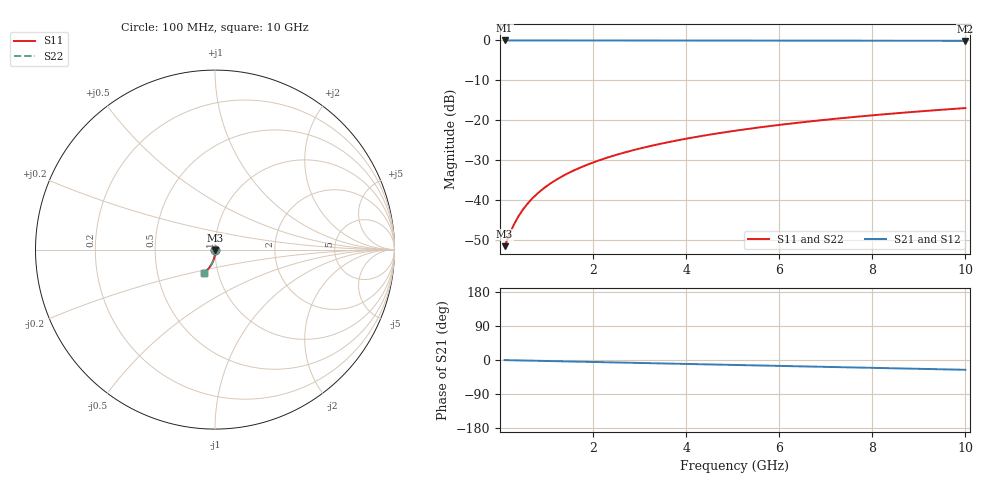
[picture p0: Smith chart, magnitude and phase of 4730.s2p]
# Hz S RI R 50.00
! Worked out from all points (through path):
!   100 points, 100 MHz to 10 GHz, reference 50 ohm
!   highest |S21| = -0.02 dB at 100 MHz (marker M1); lowest = -0.1 dB at 10 GHz (marker M2)
!   group delay of S21, straight-line fit = 7.18 ps
!   lowest |S11| = -51.5 dB at 100 MHz (marker M3), VSWR 1.01, Z = 50.2 - j0.149 ohm
!   |S11| at or under -10 dB: start of sweep to end of sweep
!   |S22| runs from -51.5 to -16.9 dB; largest |S21 - S12| = 0
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1e8  0.0022 -0.00149  0.9978 -0.00452  0.9978 -0.00452  0.0022 -0.00149
2e8  0.00219 -0.00297  0.9977 -0.00904  0.9977 -0.00904  0.00219 -0.00297
3e8  0.00216 -0.00446  0.9977 -0.0136  0.9977 -0.0136  0.00216 -0.00446
4e8  0.00212 -0.00594  0.9976 -0.0181  0.9976 -0.0181  0.00212 -0.00594
5e8  0.00207 -0.00743  0.9975 -0.0226  0.9975 -0.0226  0.00207 -0.00743
6e8  0.002 -0.00892  0.9973 -0.0271  0.9973 -0.0271  0.002 -0.00892
7e8  0.00191 -0.0104  0.9972 -0.0316  0.9972 -0.0316  0.00191 -0.0104
9e8  0.0017 -0.0134  0.9968 -0.0407  0.9968 -0.0407  0.0017 -0.0134
1e9  0.00158 -0.0148  0.9966 -0.0452  0.9966 -0.0452  0.00158 -0.0148
1.2e9  0.00129 -0.0178  0.996 -0.0542  0.996 -0.0542  0.00129 -0.0178
1.5e9  0.000749 -0.0222  0.9951 -0.0678  0.9951 -0.0678  0.000749 -0.0222
1.8e9  8.99e-05 -0.0266  0.994 -0.0813  0.994 -0.0813  8.99e-05 -0.0266
2.1e9  -0.00069 -0.031  0.9926 -0.0948  0.9926 -0.0948  -0.00069 -0.031
2.5e9  -0.00191 -0.0368  0.9905 -0.1127  0.9905 -0.1127  -0.00191 -0.0368
2.9e9  -0.00335 -0.0426  0.9881 -0.1306  0.9881 -0.1306  -0.00335 -0.0426
3.4e9  -0.00543 -0.0497  0.9845 -0.1529  0.9845 -0.1529  -0.00543 -0.0497
4.2e9  -0.00943 -0.0609  0.9776 -0.1883  0.9776 -0.1883  -0.00943 -0.0609
5.1e9  -0.0149 -0.0731  0.9682 -0.2276  0.9682 -0.2276  -0.0149 -0.0731
5.9e9  -0.0205 -0.0835  0.9584 -0.2622  0.9584 -0.2622  -0.0205 -0.0835
6.7e9  -0.0269 -0.0935  0.9473 -0.2962  0.9473 -0.2962  -0.0269 -0.0935
8.4e9  -0.0426 -0.113  0.9195 -0.3666  0.9195 -0.3666  -0.0426 -0.113
1e10  -0.0599 -0.1288  0.8882 -0.4302  0.8882 -0.4302  -0.0599 -0.1288
